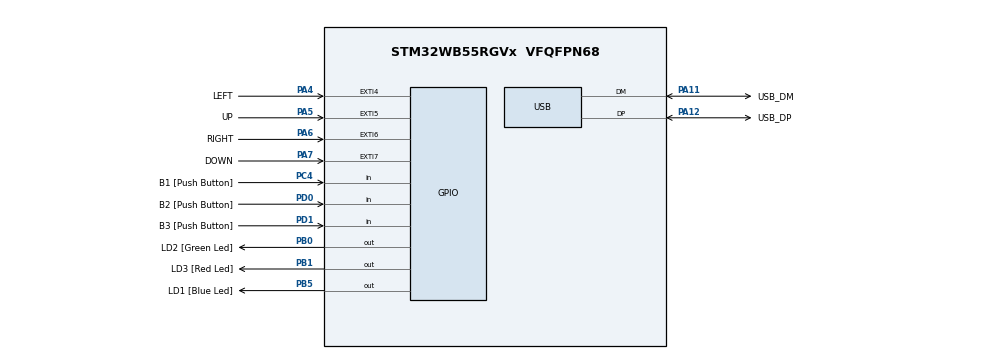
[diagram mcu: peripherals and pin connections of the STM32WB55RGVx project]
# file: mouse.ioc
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Mcu.Family=STM32WB
Mcu.Name=STM32WB55RGVx
Mcu.Package=VFQFPN68
NVIC.EXTI4_IRQn=true\:0\:0\:false\:false\:true\:true\:true\:true
NVIC.EXTI9_5_IRQn=true\:0\:0\:false\:false\:true\:true\:true\:true
NVIC.PriorityGroup=NVIC_PRIORITYGROUP_4
NVIC.TIM1_UP_TIM16_IRQn=true\:0\:0\:false\:false\:true\:true\:true\:true
NVIC.USB_LP_IRQn=true\:0\:0\:false\:false\:true\:false\:true\:true
OSC_IN.GPIO_Label=RCC_OSC_IN
OSC_IN.Signal=RCC_OSC_IN
OSC_OUT.GPIO_Label=RCC_OSC_OUT
OSC_OUT.Signal=RCC_OSC_OUT
PA11.GPIO_Label=USB_DM
PA11.Mode=Device
PA11.Signal=USB_DM
PA12.GPIO_Label=USB_DP
PA12.Mode=Device
PA12.Signal=USB_DP
PA13.GPIO_Label=JTMS
PA13.Signal=SYS_JTMS-SWDIO
PA14.GPIO_Label=JTCK
PA14.Signal=SYS_JTCK-SWCLK
PA4.GPIO_Label=LEFT
PA4.GPIO_ModeDefaultEXTI=GPIO_MODE_IT_RISING_FALLING
PA4.Signal=GPXTI4
PA5.GPIO_Label=UP
PA5.GPIO_ModeDefaultEXTI=GPIO_MODE_IT_RISING_FALLING
PA5.Signal=GPXTI5
PA6.GPIO_Label=RIGHT
PA6.GPIO_ModeDefaultEXTI=GPIO_MODE_IT_RISING_FALLING
PA6.Signal=GPXTI6
PA7.GPIO_Label=DOWN
PA7.GPIO_ModeDefaultEXTI=GPIO_MODE_IT_RISING_FALLING
PA7.Signal=GPXTI7
PB0.GPIO_Label=LD2 [Green Led]
PB0.Signal=GPIO_Output
PB1.GPIO_Label=LD3 [Red Led]
PB1.Signal=GPIO_Output
PB3.GPIO_Label=JTDO
PB3.Signal=SYS_JTDO-SWO
PB5.GPIO_Label=LD1 [Blue Led]
PB5.Signal=GPIO_Output
PB6.GPIO_Label=STLINK_RX
PB6.Signal=USART1_TX
PB7.GPIO_Label=STLINK_TX
PB7.Signal=USART1_RX
PC13.GPIO_Label=SYS_WKUP2
PC13.Signal=SYS_WKUP2
PC14-OSC32_IN.GPIO_Label=RCC_OSC32_IN
PC14-OSC32_IN.Signal=RCC_OSC32_IN
PC15-OSC32_OUT.GPIO_Label=RCC_OSC32_OUT
PC15-OSC32_OUT.Signal=RCC_OSC32_OUT
PC4.GPIO_Label=B1 [Push Button]
PC4.Signal=GPIO_Input
PD0.GPIO_Label=B2 [Push Button]
PD0.Signal=GPIO_Input
PD1.GPIO_Label=B3 [Push Button]
PD1.Signal=GPIO_Input
ProjectManager.HeapSize=0x200
ProjectManager.StackSize=0x400
ProjectManager.TargetToolchain=STM32CubeIDE
RCC.ADCFreq_Value=48000000
RCC.AHB2CLKDivider=RCC_SYSCLK_DIV2
RCC.AHBFreq_Value=64000000
RCC.APB1Freq_Value=64000000
RCC.APB1TimFreq_Value=64000000
RCC.APB2Freq_Value=64000000
RCC.APB2TimFreq_Value=64000000
RCC.APB3Freq_Value=16000000
RCC.Cortex2_Div=SYSTICK_CLKSOURCE_HCLK_DIV8
RCC.CortexFreq_Value=64000000
RCC.HCLKFreq_Value=64000000
RCC.HSE_VALUE=32000000
RCC.HSI48_VALUE=48000000
RCC.HSI_VALUE=16000000
RCC.LSE_VALUE=32768
RCC.PLLN=32
RCC.PLLSAI1N=24
RCC.SMPSCLockSelection=RCC_SMPSCLKSOURCE_HSI
RCC.SMPSCLockSelectionVirtual=RCC_SMPSCLKSOURCE_HSI
RCC.SMPSCLockSelectionVirtualVirtual=RCC_SMPSCLKSOURCE_HSI
RCC.SMPSDivider=1
RCC.SYSCLKFreq_VALUE=64000000
RCC.SYSCLKSource=RCC_SYSCLKSOURCE_PLLCLK
RCC.USBFreq_Value=48000000
RCC.VCOOutputFreq_Value=128000000
TIM1.Period=64000-1
USB_DEVICE.CLASS_NAME_FS=HID
USB_DEVICE.PRODUCT_STRING_HID_FS=STM32 MOOSE
USB_DEVICE.VirtualMode=Hid
USB_DEVICE.VirtualModeFS=Hid_FS
VP_MEMORYMAP_VS_MEMORYMAP.Mode=CurAppReg
VP_TIM1_VS_ClockSourceINT.Mode=Internal
VP_USB_DEVICE_VS_USB_DEVICE_HID_FS.Mode=HID_FS
board=NUCLEO-WB55RG

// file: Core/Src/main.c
/* USER CODE BEGIN Header */
/**
  ******************************************************************************
  * @file           : main.c
  * @brief          : Main program body
  ******************************************************************************
  * @attention
  *
  * Copyright (c) 2025 STMicroelectronics.
  * All rights reserved.
  *
  * This software is licensed under terms that can be found in the LICENSE file
  * in the root directory of this software component.
  * If no LICENSE file comes with this software, it is provided AS-IS.
  *
  ******************************************************************************
  */
/* USER CODE END Header */
#include "main.h"
#include "usb_device.h"

/* USER CODE BEGIN Includes */
#include "usbd_hid.h"
#include "ball_board.h"
#include "filter.h"
/* USER CODE END Includes */

/* USER CODE BEGIN PTD */
typedef struct{
  uint8_t click;
  int8_t mouse_x;
  int8_t mouse_y;
  int8_t wheel;
}mouseHID;
/* USER CODE END PTD */

TIM_HandleTypeDef htim1;

/* USER CODE BEGIN PV */
extern USBD_HandleTypeDef hUsbDeviceFS;
ball trackball;

lpfilter filterx, filtery;
float alpha;
/* USER CODE END PV */

void SystemClock_Config(void);
void PeriphCommonClock_Config(void);
static void MX_GPIO_Init(void);
static void MX_TIM1_Init(void);

/* USER CODE BEGIN 0 */

void HAL_GPIO_EXTI_Callback(uint16_t GPIO_Pin){
  if(GPIO_Pin == UP_Pin){
    trackball.UP++;
  }
  else if(GPIO_Pin == DOWN_Pin){
    trackball.DOWN++;
  }
  else if(GPIO_Pin == LEFT_Pin){
    trackball.LEFT++;
  }
  else if(GPIO_Pin == RIGHT_Pin){
    trackball.RIGHT++;
  }
  else{
    __NOP();
  }
}

void HAL_TIM_PeriodElapsedCallback(TIM_HandleTypeDef *htim1){
  mouseHID mouse_data = {0,0,0,0};
  int16_t x = 0;
  int16_t y = 0;

  x = trackball.RIGHT - trackball.LEFT;
  y = trackball.UP - trackball.DOWN;

  mouse_data.mouse_x = filter_update(&filterx, 20 * x);
  mouse_data.mouse_y = filter_update(&filtery, 20 * y);

  USBD_HID_SendReport(&hUsbDeviceFS, (uint8_t *)&mouse_data, sizeof(mouse_data));
  ball_reset(&trackball);
}

/* USER CODE END 0 */

int main(void)
{

  /* USER CODE BEGIN 1 */
  ball_reset(&trackball);
  alpha = 0.05f;
  filter_init(&filterx, alpha);
  filter_init(&filtery, alpha);
  /* USER CODE END 1 */

  /* MCU Configuration--------------------------------------------------------*/

  /* Reset of all peripherals, Initializes the Flash interface and the Systick. */
  HAL_Init();

  /* Configure the system clock */
  SystemClock_Config();

  /* Configure the peripherals common clocks */
  PeriphCommonClock_Config();

  /* Initialize all configured peripherals */
  MX_GPIO_Init();
  MX_USB_Device_Init();
  MX_TIM1_Init();
  /* USER CODE BEGIN 2 */
  HAL_TIM_Base_Start_IT(&htim1);
  /* USER CODE END 2 */

  /* Infinite loop */
  while (1)
  {

  }
}

void SystemClock_Config(void)
{
  RCC_OscInitTypeDef RCC_OscInitStruct = {0};
  RCC_ClkInitTypeDef RCC_ClkInitStruct = {0};

  /** Configure the main internal regulator output voltage
  */
  __HAL_PWR_VOLTAGESCALING_CONFIG(PWR_REGULATOR_VOLTAGE_SCALE1);

  /** Initializes the RCC Oscillators according to the specified parameters
  * in the RCC_OscInitTypeDef structure.
  */
  RCC_OscInitStruct.OscillatorType = RCC_OSCILLATORTYPE_HSI|RCC_OSCILLATORTYPE_LSE
                              |RCC_OSCILLATORTYPE_MSI;
  RCC_OscInitStruct.LSEState = RCC_LSE_OFF;
  RCC_OscInitStruct.HSIState = RCC_HSI_ON;
  RCC_OscInitStruct.MSIState = RCC_MSI_ON;
  RCC_OscInitStruct.HSICalibrationValue = RCC_HSICALIBRATION_DEFAULT;
  RCC_OscInitStruct.MSICalibrationValue = RCC_MSICALIBRATION_DEFAULT;
  RCC_OscInitStruct.MSIClockRange = RCC_MSIRANGE_6;
  RCC_OscInitStruct.PLL.PLLState = RCC_PLL_ON;
  RCC_OscInitStruct.PLL.PLLSource = RCC_PLLSOURCE_MSI;
  RCC_OscInitStruct.PLL.PLLM = RCC_PLLM_DIV1;
  RCC_OscInitStruct.PLL.PLLN = 32;
  RCC_OscInitStruct.PLL.PLLP = RCC_PLLP_DIV2;
  RCC_OscInitStruct.PLL.PLLR = RCC_PLLR_DIV2;
  RCC_OscInitStruct.PLL.PLLQ = RCC_PLLQ_DIV2;
  if (HAL_RCC_OscConfig(&RCC_OscInitStruct) != HAL_OK)
  {
    Error_Handler();
  }

  /** Configure the SYSCLKSource, HCLK, PCLK1 and PCLK2 clocks dividers
  */
  RCC_ClkInitStruct.ClockType = RCC_CLOCKTYPE_HCLK4|RCC_CLOCKTYPE_HCLK2
                              |RCC_CLOCKTYPE_HCLK|RCC_CLOCKTYPE_SYSCLK
                              |RCC_CLOCKTYPE_PCLK1|RCC_CLOCKTYPE_PCLK2;
  RCC_ClkInitStruct.SYSCLKSource = RCC_SYSCLKSOURCE_PLLCLK;
  RCC_ClkInitStruct.AHBCLKDivider = RCC_SYSCLK_DIV1;
  RCC_ClkInitStruct.APB1CLKDivider = RCC_HCLK_DIV1;
  RCC_ClkInitStruct.APB2CLKDivider = RCC_HCLK_DIV1;
  RCC_ClkInitStruct.AHBCLK2Divider = RCC_SYSCLK_DIV2;
  RCC_ClkInitStruct.AHBCLK4Divider = RCC_SYSCLK_DIV1;

  if (HAL_RCC_ClockConfig(&RCC_ClkInitStruct, FLASH_LATENCY_3) != HAL_OK)
  {
    Error_Handler();
  }

  /** Enable MSI Auto calibration
  */
  HAL_RCCEx_EnableMSIPLLMode();
}

void PeriphCommonClock_Config(void)
{
  RCC_PeriphCLKInitTypeDef PeriphClkInitStruct = {0};

  /** Initializes the peripherals clock
  */
  PeriphClkInitStruct.PeriphClockSelection = RCC_PERIPHCLK_SMPS;
  PeriphClkInitStruct.SmpsClockSelection = RCC_SMPSCLKSOURCE_HSI;
  PeriphClkInitStruct.SmpsDivSelection = RCC_SMPSCLKDIV_RANGE0;

  if (HAL_RCCEx_PeriphCLKConfig(&PeriphClkInitStruct) != HAL_OK)
  {
    Error_Handler();
  }
}

static void MX_TIM1_Init(void)
{

  TIM_ClockConfigTypeDef sClockSourceConfig = {0};
  TIM_MasterConfigTypeDef sMasterConfig = {0};

  htim1.Instance = TIM1;
  htim1.Init.Prescaler = 0;
  htim1.Init.CounterMode = TIM_COUNTERMODE_UP;
  htim1.Init.Period = 64000-1;
  htim1.Init.ClockDivision = TIM_CLOCKDIVISION_DIV1;
  htim1.Init.RepetitionCounter = 0;
  htim1.Init.AutoReloadPreload = TIM_AUTORELOAD_PRELOAD_DISABLE;
  if (HAL_TIM_Base_Init(&htim1) != HAL_OK)
  {
    Error_Handler();
  }
  sClockSourceConfig.ClockSource = TIM_CLOCKSOURCE_INTERNAL;
  if (HAL_TIM_ConfigClockSource(&htim1, &sClockSourceConfig) != HAL_OK)
  {
    Error_Handler();
  }
  sMasterConfig.MasterOutputTrigger = TIM_TRGO_RESET;
  sMasterConfig.MasterOutputTrigger2 = TIM_TRGO2_RESET;
  sMasterConfig.MasterSlaveMode = TIM_MASTERSLAVEMODE_DISABLE;
  if (HAL_TIMEx_MasterConfigSynchronization(&htim1, &sMasterConfig) != HAL_OK)
  {
    Error_Handler();
  }

}

static void MX_GPIO_Init(void)
{
  GPIO_InitTypeDef GPIO_InitStruct = {0};

  /* GPIO Ports Clock Enable */
  __HAL_RCC_GPIOC_CLK_ENABLE();
  __HAL_RCC_GPIOA_CLK_ENABLE();
  __HAL_RCC_GPIOB_CLK_ENABLE();
  __HAL_RCC_GPIOD_CLK_ENABLE();

  /*Configure GPIO pin Output Level */
  HAL_GPIO_WritePin(GPIOB, LD2_Pin|LD3_Pin|LD1_Pin, GPIO_PIN_RESET);

  /*Configure GPIO pins : LEFT_Pin UP_Pin RIGHT_Pin DOWN_Pin */
  GPIO_InitStruct.Pin = LEFT_Pin|UP_Pin|RIGHT_Pin|DOWN_Pin;
  GPIO_InitStruct.Mode = GPIO_MODE_IT_RISING_FALLING;
  GPIO_InitStruct.Pull = GPIO_NOPULL;
  HAL_GPIO_Init(GPIOA, &GPIO_InitStruct);

  /*Configure GPIO pin : B1_Pin */
  GPIO_InitStruct.Pin = B1_Pin;
  GPIO_InitStruct.Mode = GPIO_MODE_INPUT;
  GPIO_InitStruct.Pull = GPIO_NOPULL;
  HAL_GPIO_Init(B1_GPIO_Port, &GPIO_InitStruct);

  /*Configure GPIO pins : LD2_Pin LD3_Pin LD1_Pin */
  GPIO_InitStruct.Pin = LD2_Pin|LD3_Pin|LD1_Pin;
  GPIO_InitStruct.Mode = GPIO_MODE_OUTPUT_PP;
  GPIO_InitStruct.Pull = GPIO_NOPULL;
  GPIO_InitStruct.Speed = GPIO_SPEED_FREQ_LOW;
  HAL_GPIO_Init(GPIOB, &GPIO_InitStruct);

  /*Configure GPIO pins : B2_Pin B3_Pin */
  GPIO_InitStruct.Pin = B2_Pin|B3_Pin;
  GPIO_InitStruct.Mode = GPIO_MODE_INPUT;
  GPIO_InitStruct.Pull = GPIO_NOPULL;
  HAL_GPIO_Init(GPIOD, &GPIO_InitStruct);

  /*Configure GPIO pins : STLINK_RX_Pin STLINK_TX_Pin */
  GPIO_InitStruct.Pin = STLINK_RX_Pin|STLINK_TX_Pin;
  GPIO_InitStruct.Mode = GPIO_MODE_AF_PP;
  GPIO_InitStruct.Pull = GPIO_NOPULL;
  GPIO_InitStruct.Speed = GPIO_SPEED_FREQ_LOW;
  GPIO_InitStruct.Alternate = GPIO_AF7_USART1;
  HAL_GPIO_Init(GPIOB, &GPIO_InitStruct);

  /* EXTI interrupt init*/
  HAL_NVIC_SetPriority(EXTI4_IRQn, 0, 0);
  HAL_NVIC_EnableIRQ(EXTI4_IRQn);

  HAL_NVIC_SetPriority(EXTI9_5_IRQn, 0, 0);
  HAL_NVIC_EnableIRQ(EXTI9_5_IRQn);

}

void Error_Handler(void)
{
  __disable_irq();
  while (1)
  {
  }
}
